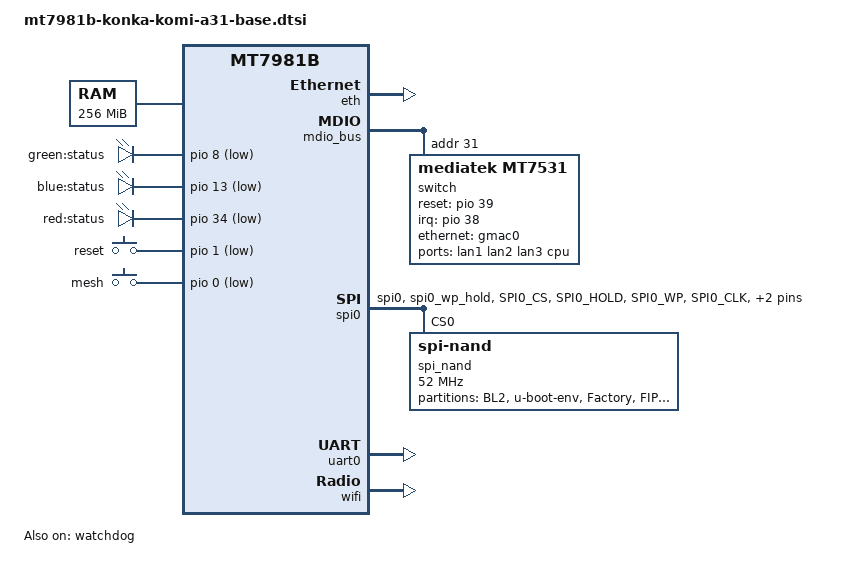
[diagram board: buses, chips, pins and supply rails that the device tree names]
// SPDX-License-Identifier: GPL-2.0-or-later OR MIT

/dts-v1/;
#include <dt-bindings/gpio/gpio.h>
#include <dt-bindings/input/input.h>
#include "mt7981b.dtsi"

/ {
	aliases {
		serial0 = &uart0;
		led-boot = &status_red_led;
		led-failsafe = &status_red_led;
		led-running = &status_green_led;
		led-upgrade = &status_green_led;
	};

	chosen {
		stdout-path = "serial0:115200n8";
	};

	memory {
		reg = <0 0x40000000 0 0x10000000>;
	};

	leds {
		compatible = "gpio-leds";

		status_green_led: led-0 {
			label = "green:status";
			gpios = <&pio 8 GPIO_ACTIVE_LOW>;
		};

		status_blue_led: led-1 {
			label = "blue:status";
			gpios = <&pio 13 GPIO_ACTIVE_LOW>;
		};

		status_red_led: led-2 {
			label = "red:status";
			gpios = <&pio 34 GPIO_ACTIVE_LOW>;
		};
	};

	gpio-keys {
		compatible = "gpio-keys";

		button-reset {
			label = "reset";
			linux,code = <KEY_RESTART>;
			gpios = <&pio 1 GPIO_ACTIVE_LOW>;
		};

		button-mesh {
			label = "mesh";
			gpios = <&pio 0 GPIO_ACTIVE_LOW>;
			linux,code = <BTN_9>;
			linux,input-type = <EV_SW>;
		};
	};
};

&eth {
	status = "okay";

	gmac0: mac@0 {
		compatible = "mediatek,eth-mac";
		reg = <0>;
		phy-mode = "2500base-x";

		nvmem-cells = <&macaddr_factory_2a>;
		nvmem-cell-names = "mac-address";

		fixed-link {
			speed = <2500>;
			full-duplex;
			pause;
		};
	};

	gmac1: mac@1 {
		compatible = "mediatek,eth-mac";
		reg = <1>;
		phy-mode = "gmii";
		phy-handle = <&int_gbe_phy>;

		nvmem-cells = <&macaddr_factory_24>;
		nvmem-cell-names = "mac-address";
	};
};

&mdio_bus {
	switch: switch@1f {
		compatible = "mediatek,mt7531";
		reg = <31>;
		reset-gpios = <&pio 39 GPIO_ACTIVE_HIGH>;
		interrupt-controller;
		#interrupt-cells = <1>;
		interrupt-parent = <&pio>;
		interrupts = <38 IRQ_TYPE_LEVEL_HIGH>;
	};
};

&spi0 {
	pinctrl-names = "default";
	pinctrl-0 = <&spi0_flash_pins>;
	status = "okay";

	spi_nand: spi_nand@0 {
		#address-cells = <1>;
		#size-cells = <1>;
		compatible = "spi-nand";
		reg = <0>;
		spi-max-frequency = <52000000>;

		spi-tx-bus-width = <4>;
		spi-rx-bus-width = <4>;

		partitions {
			compatible = "fixed-partitions";
			#address-cells = <1>;
			#size-cells = <1>;

			partition@0 {
				label = "BL2";
				reg = <0x00 0x100000>;
			};

			partition@100000 {
				label = "u-boot-env";
				reg = <0x100000 0x80000>;
			};

			factory: partition@180000 {
				label = "Factory";
				reg = <0x180000 0x200000>;

				nvmem-layout {
					compatible = "fixed-layout";
					#address-cells = <1>;
					#size-cells = <1>;

					macaddr_factory_2a: macaddr@2a {
						reg = <0x2a 0x6>;
					};

					macaddr_factory_24: macaddr@24 {
						reg = <0x24 0x6>;
					};
				};
			};

			partition@380000 {
				label = "FIP";
				reg = <0x380000 0x200000>;
			};

			partition@580000 {
				label = "ubi";
				reg = <0x580000 0x7000000>;
			};
		};
	};
};

&switch {
	ports {
		#address-cells = <1>;
		#size-cells = <0>;

		port@0 {
			reg = <0>;
			label = "lan1";
		};

		port@1 {
			reg = <1>;
			label = "lan2";
		};

		port@2 {
			reg = <2>;
			label = "lan3";
		};

		port@6 {
			reg = <6>;
			label = "cpu";
			ethernet = <&gmac0>;
			phy-mode = "2500base-x";

			fixed-link {
				speed = <2500>;
				full-duplex;
				pause;
			};
		};
	};
};

&pio {
	spi0_flash_pins: spi0-pins {
		mux {
			function = "spi";
			groups = "spi0", "spi0_wp_hold";
		};

		conf-pu {
			pins = "SPI0_CS", "SPI0_HOLD", "SPI0_WP";
			drive-strength = <8>;
			mediatek,pull-up-adv = <0>; /* bias-disable */
		};

		conf-pd {
			pins = "SPI0_CLK", "SPI0_MOSI", "SPI0_MISO";
			drive-strength = <8>;
			mediatek,pull-up-adv = <0>; /* bias-disable */
		};
	};
};

&uart0 {
	status = "okay";
};

&watchdog {
	status = "okay";
};

&wifi {
	status = "okay";

	mediatek,mtd-eeprom = <&factory 0x0>;
};
